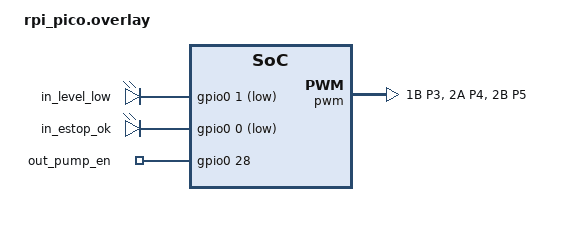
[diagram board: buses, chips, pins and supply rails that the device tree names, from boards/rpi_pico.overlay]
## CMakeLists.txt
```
cmake_minimum_required(VERSION 3.20.0)

set(BOARD rpi_pico)

find_package(Zephyr)
project(pump)

target_sources(app PRIVATE src/main.c gen/Example_Compile_Pump.c rts/dist/generic/prims.c)

target_include_directories(app PRIVATE gen rts/include rts/dist/generic)
```

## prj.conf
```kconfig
CONFIG_PWM=y
# CONFIG_I2C=y
# CONFIG_I2C_DW_CLOCK_SPEED=400
# CONFIG_SENSOR=y
# CONFIG_MPU6050_TRIGGER_NONE=y
```

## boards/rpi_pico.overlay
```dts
/ {
	leds {
		compatible = "gpio-leds";
		in_level_low: input0 {
			gpios = <&gpio0 1 (GPIO_ACTIVE_LOW | GPIO_PULL_UP)>;
		};
		in_estop_ok: input1 {
			gpios = <&gpio0 0 (GPIO_ACTIVE_LOW | GPIO_PULL_UP)>;
		};
		out_pump_en: output2 {
			gpios = <&gpio0 28 GPIO_ACTIVE_HIGH>;
		};
	};

	pwm_leds {
		pwm_led_pump: pwm_led_3 {
			status = "okay";
			// I think this frequency is overridden in the implementation
			pwms = <&pwm 3 PWM_KHZ(1) PWM_POLARITY_NORMAL>;
			// label = "PWM_LED";
		};
		pwm_led_ok: pwm_led_4 {
			status = "okay";
			pwms = <&pwm 4 PWM_KHZ(1) PWM_POLARITY_NORMAL>;
		};
		pwm_led_stuck: pwm_led_5 {
			status = "okay";
			pwms = <&pwm 5 PWM_KHZ(1) PWM_POLARITY_NORMAL>;
		};
	};

	aliases {
		in-level-low = &in_level_low;
		in-estop-ok = &in_estop_ok;
		out-pump-en = &out_pump_en;
		pwm-led-pump = &pwm_led_pump;
		pwm-led-ok = &pwm_led_ok;
		pwm-led-stuck = &pwm_led_stuck;
	};
};

&pwm {
	status = "okay";
	pinctrl-0 = <&pwm_cfg>;
	pinctrl-names = "default";
	// I am not sure if these dividers are having any effect
	divider-int-1 = <255>;
	divider-frac-1 = <1>;
	divider-int-2 = <255>;
	divider-frac-2 = <1>;
};

&pinctrl {
	pwm_cfg: pwm_cfg {
		group1 {
			pinmux = <PWM_1B_P3 PWM_2A_P4 PWM_2B_P5>;
		};
	};
};
```

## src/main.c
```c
#include <zephyr/kernel.h>
#include <zephyr/device.h>
#include <zephyr/drivers/gpio.h>
#include <zephyr/drivers/pwm.h>

#include "Example_Compile_Pump.h"

#define SLEEP_TIME_MS   10

static const struct gpio_dt_spec in_level_low =
	GPIO_DT_SPEC_GET(DT_ALIAS(in_level_low), gpios);
static const struct gpio_dt_spec in_estop_ok =
	GPIO_DT_SPEC_GET(DT_ALIAS(in_estop_ok), gpios);
static const struct gpio_dt_spec out_pump_en =
	GPIO_DT_SPEC_GET(DT_ALIAS(out_pump_en), gpios);

static const struct pwm_dt_spec pwm_led_pump = PWM_DT_SPEC_GET(DT_ALIAS(pwm_led_pump));
static const struct pwm_dt_spec pwm_led_ok = PWM_DT_SPEC_GET(DT_ALIAS(pwm_led_ok));
static const struct pwm_dt_spec pwm_led_stuck = PWM_DT_SPEC_GET(DT_ALIAS(pwm_led_stuck));

Example_Compile_Pump_state state;
static void ctl_init() {
	Example_Compile_Pump_reset(&state);
}

static inline void pwm_set_led(const struct pwm_dt_spec *spec, int value)
{
	// 1KHz, 5% duty
	pwm_set_dt(spec, 1000000, value ? 50000 : 0);
}

static void ctl_step() {
	int level_low = gpio_pin_get_dt(&in_level_low);
	int estop_ok = gpio_pin_get_dt(&in_estop_ok);

	Example_Compile_Pump_input input = { .estop = !estop_ok, .level_low = level_low };
	Example_Compile_Pump_output output = Example_Compile_Pump_step(input, &state);

	pwm_set_led(&pwm_led_ok, estop_ok);
	pwm_set_led(&pwm_led_stuck, output.nok_stuck);
	pwm_set_led(&pwm_led_pump, output.sol_en);
	gpio_pin_set_dt(&out_pump_en, output.sol_en);
}

static void main_timer_work_step(struct k_work *work) {
	ctl_step();
}

K_WORK_DEFINE(main_timer_work, main_timer_work_step);

static void main_timer_step(struct k_timer *timer) {
	k_work_submit(&main_timer_work);
}

K_TIMER_DEFINE(main_timer, main_timer_step, NULL);


void main(void) {
	int ret;

	if (!device_is_ready(in_estop_ok.port)) {
		return;
	}

	ret =
		gpio_pin_configure_dt(&in_level_low, GPIO_INPUT) ||
		gpio_pin_configure_dt(&in_estop_ok, GPIO_INPUT) ||
		gpio_pin_configure_dt(&out_pump_en, GPIO_OUTPUT_INACTIVE) ||
		!device_is_ready(pwm_led_ok.dev) ||
		!device_is_ready(pwm_led_stuck.dev) ||
		!device_is_ready(pwm_led_pump.dev) ||
		0;
	if (ret < 0) {
		return;
	}

	ctl_init();

	k_timer_start(&main_timer, K_MSEC(10), K_MSEC(10));
}
```
